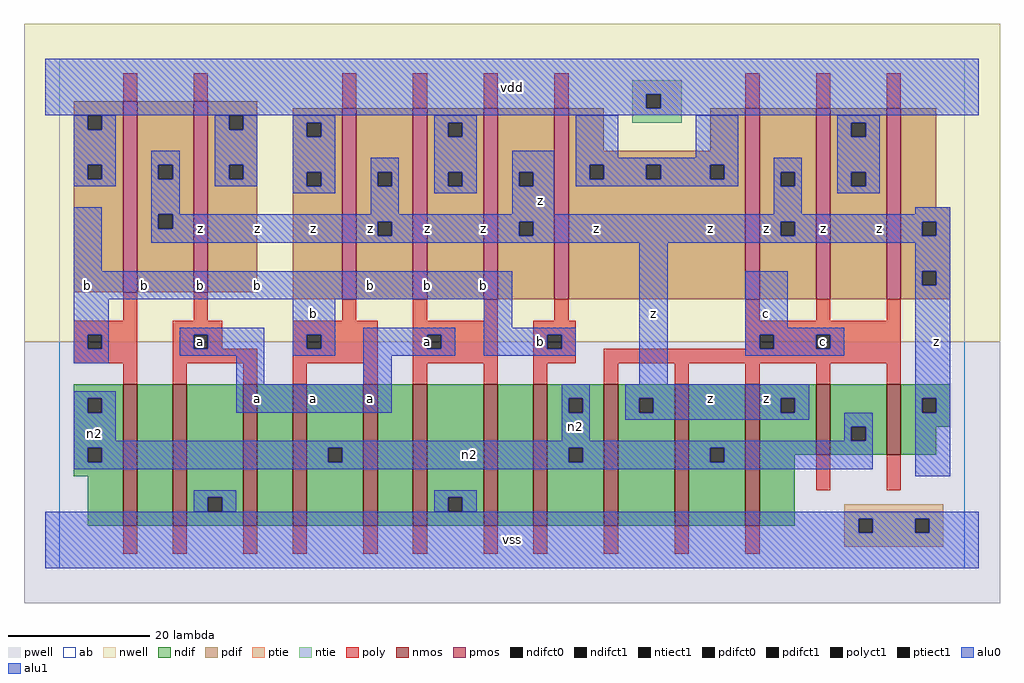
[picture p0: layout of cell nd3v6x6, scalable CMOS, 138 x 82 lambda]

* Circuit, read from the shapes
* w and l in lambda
.subckt nd3v6x6 a b c n2 vdd vss z
M1 n1 b n2 vss nfet w=20 l=2
M2 vss a n1 vss nfet w=20 l=2
M3 n3 a vss vss nfet w=20 l=2
M4 n2 b n3 vss nfet w=20 l=2
M5 n4 b n2 vss nfet w=20 l=2
M6 vss a n4 vss nfet w=20 l=2
M7 n5 a vss vss nfet w=20 l=2
M8 n2 b n5 vss nfet w=20 l=2
M9 z c n2 vss nfet w=20 l=2 m=3
M10 n2 c z vss nfet w=10 l=2 m=2
M11 z b vdd vdd pfet w=27 l=2 m=3
M12 vdd a z vdd pfet w=27 l=2 m=3
M13 z c vdd vdd pfet w=27 l=2 m=3
.ends

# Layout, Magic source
magic
tech scmos
<< ab >>
rect 0 0 128 72
<< nwell >>
rect -5 32 133 77
<< pwell >>
rect -5 -5 133 32
<< poly >>
rect 9 66 11 70
rect 19 66 21 70
rect 40 65 42 70
rect 50 65 52 70
rect 60 65 62 70
rect 70 65 72 70
rect 97 65 99 70
rect 107 65 109 70
rect 117 65 119 70
rect 9 35 11 39
rect 19 35 21 39
rect 40 35 42 38
rect 50 35 52 38
rect 60 35 62 38
rect 70 35 72 38
rect 97 35 99 38
rect 107 35 109 38
rect 117 35 119 38
rect 2 33 11 35
rect 2 31 4 33
rect 6 31 11 33
rect 2 29 11 31
rect 9 26 11 29
rect 16 33 23 35
rect 16 31 19 33
rect 21 31 23 33
rect 33 33 45 35
rect 33 31 35 33
rect 37 31 45 33
rect 16 29 28 31
rect 16 26 18 29
rect 26 26 28 29
rect 33 29 45 31
rect 33 26 35 29
rect 43 26 45 29
rect 50 33 62 35
rect 50 31 52 33
rect 54 31 62 33
rect 50 29 62 31
rect 50 26 52 29
rect 60 26 62 29
rect 67 33 73 35
rect 67 31 69 33
rect 71 31 73 33
rect 97 33 119 35
rect 97 31 99 33
rect 101 31 107 33
rect 109 31 119 33
rect 67 29 73 31
rect 77 29 119 31
rect 67 26 69 29
rect 77 26 79 29
rect 87 26 89 29
rect 97 26 99 29
rect 107 26 109 29
rect 117 26 119 29
rect 107 11 109 16
rect 117 11 119 16
rect 9 2 11 6
rect 16 2 18 6
rect 26 2 28 6
rect 33 2 35 6
rect 43 2 45 6
rect 50 2 52 6
rect 60 2 62 6
rect 67 2 69 6
rect 77 2 79 6
rect 87 2 89 6
rect 97 2 99 6
<< ndif >>
rect 2 24 9 26
rect 2 22 4 24
rect 6 22 9 24
rect 2 17 9 22
rect 2 15 4 17
rect 6 15 9 17
rect 2 13 9 15
rect 4 6 9 13
rect 11 6 16 26
rect 18 10 26 26
rect 18 8 21 10
rect 23 8 26 10
rect 18 6 26 8
rect 28 6 33 26
rect 35 17 43 26
rect 35 15 38 17
rect 40 15 43 17
rect 35 6 43 15
rect 45 6 50 26
rect 52 10 60 26
rect 52 8 55 10
rect 57 8 60 10
rect 52 6 60 8
rect 62 6 67 26
rect 69 24 77 26
rect 69 22 72 24
rect 74 22 77 24
rect 69 17 77 22
rect 69 15 72 17
rect 74 15 77 17
rect 69 6 77 15
rect 79 24 87 26
rect 79 22 82 24
rect 84 22 87 24
rect 79 6 87 22
rect 89 17 97 26
rect 89 15 92 17
rect 94 15 97 17
rect 89 6 97 15
rect 99 24 107 26
rect 99 22 102 24
rect 104 22 107 24
rect 99 16 107 22
rect 109 20 117 26
rect 109 18 112 20
rect 114 18 117 20
rect 109 16 117 18
rect 119 24 126 26
rect 119 22 122 24
rect 124 22 126 24
rect 119 20 126 22
rect 119 16 124 20
rect 99 6 104 16
<< pdif >>
rect 2 64 9 66
rect 2 62 4 64
rect 6 62 9 64
rect 2 57 9 62
rect 2 55 4 57
rect 6 55 9 57
rect 2 39 9 55
rect 11 57 19 66
rect 11 55 14 57
rect 16 55 19 57
rect 11 50 19 55
rect 11 48 14 50
rect 16 48 19 50
rect 11 39 19 48
rect 21 64 28 66
rect 21 62 24 64
rect 26 62 28 64
rect 21 57 28 62
rect 21 55 24 57
rect 26 55 28 57
rect 21 39 28 55
rect 33 63 40 65
rect 33 61 35 63
rect 37 61 40 63
rect 33 56 40 61
rect 33 54 35 56
rect 37 54 40 56
rect 33 38 40 54
rect 42 56 50 65
rect 42 54 45 56
rect 47 54 50 56
rect 42 49 50 54
rect 42 47 45 49
rect 47 47 50 49
rect 42 38 50 47
rect 52 63 60 65
rect 52 61 55 63
rect 57 61 60 63
rect 52 56 60 61
rect 52 54 55 56
rect 57 54 60 56
rect 52 38 60 54
rect 62 56 70 65
rect 62 54 65 56
rect 67 54 70 56
rect 62 49 70 54
rect 62 47 65 49
rect 67 47 70 49
rect 62 38 70 47
rect 72 59 77 65
rect 92 59 97 65
rect 72 57 97 59
rect 72 55 75 57
rect 77 55 83 57
rect 85 55 92 57
rect 94 55 97 57
rect 72 38 97 55
rect 99 56 107 65
rect 99 54 102 56
rect 104 54 107 56
rect 99 49 107 54
rect 99 47 102 49
rect 104 47 107 49
rect 99 38 107 47
rect 109 63 117 65
rect 109 61 112 63
rect 114 61 117 63
rect 109 56 117 61
rect 109 54 112 56
rect 114 54 117 56
rect 109 38 117 54
rect 119 51 124 65
rect 119 49 126 51
rect 119 47 122 49
rect 124 47 126 49
rect 119 42 126 47
rect 119 40 122 42
rect 124 40 126 42
rect 119 38 126 40
<< alu1 >>
rect -2 67 130 72
rect -2 65 83 67
rect 85 65 130 67
rect -2 64 130 65
rect 13 57 17 59
rect 13 55 14 57
rect 16 55 17 57
rect 2 42 6 51
rect 13 50 17 55
rect 44 56 48 58
rect 44 54 45 56
rect 47 54 48 56
rect 44 50 48 54
rect 64 56 70 59
rect 64 54 65 56
rect 67 54 70 56
rect 101 56 105 58
rect 101 54 102 56
rect 104 54 105 56
rect 64 50 70 54
rect 101 50 105 54
rect 121 50 126 51
rect 13 48 14 50
rect 16 49 126 50
rect 16 48 45 49
rect 13 47 45 48
rect 47 47 65 49
rect 67 47 102 49
rect 104 47 122 49
rect 124 47 126 49
rect 13 46 126 47
rect 2 38 64 42
rect 2 33 7 38
rect 2 31 4 33
rect 6 31 7 33
rect 2 29 7 31
rect 17 33 29 34
rect 17 31 19 33
rect 21 31 29 33
rect 17 30 29 31
rect 33 33 39 38
rect 60 34 64 38
rect 33 31 35 33
rect 37 31 39 33
rect 33 30 39 31
rect 43 33 56 34
rect 43 31 52 33
rect 54 31 56 33
rect 43 30 56 31
rect 60 33 73 34
rect 60 31 69 33
rect 71 31 73 33
rect 60 30 73 31
rect 25 26 29 30
rect 43 26 47 30
rect 82 26 86 46
rect 121 42 126 46
rect 97 34 103 42
rect 121 40 122 42
rect 124 40 126 42
rect 97 33 111 34
rect 97 31 99 33
rect 101 31 107 33
rect 109 31 111 33
rect 97 30 111 31
rect 25 22 47 26
rect 80 24 106 26
rect 80 22 82 24
rect 84 22 102 24
rect 104 22 106 24
rect 121 24 126 40
rect 121 22 122 24
rect 124 22 126 24
rect 80 21 106 22
rect 121 13 126 22
rect -2 7 130 8
rect -2 5 113 7
rect 115 5 121 7
rect 123 5 130 7
rect -2 0 130 5
<< ptie >>
rect 111 7 125 9
rect 111 5 113 7
rect 115 5 121 7
rect 123 5 125 7
rect 111 3 125 5
<< ntie >>
rect 81 67 88 69
rect 81 65 83 67
rect 85 65 88 67
rect 81 63 88 65
<< nmos >>
rect 9 6 11 26
rect 16 6 18 26
rect 26 6 28 26
rect 33 6 35 26
rect 43 6 45 26
rect 50 6 52 26
rect 60 6 62 26
rect 67 6 69 26
rect 77 6 79 26
rect 87 6 89 26
rect 97 6 99 26
rect 107 16 109 26
rect 117 16 119 26
<< pmos >>
rect 9 39 11 66
rect 19 39 21 66
rect 40 38 42 65
rect 50 38 52 65
rect 60 38 62 65
rect 70 38 72 65
rect 97 38 99 65
rect 107 38 109 65
rect 117 38 119 65
<< polyct1 >>
rect 4 31 6 33
rect 19 31 21 33
rect 35 31 37 33
rect 52 31 54 33
rect 69 31 71 33
rect 99 31 101 33
rect 107 31 109 33
<< ndifct0 >>
rect 4 22 6 24
rect 4 15 6 17
rect 21 8 23 10
rect 38 15 40 17
rect 55 8 57 10
rect 72 22 74 24
rect 72 15 74 17
rect 92 15 94 17
rect 112 18 114 20
<< ndifct1 >>
rect 82 22 84 24
rect 102 22 104 24
rect 122 22 124 24
<< ntiect1 >>
rect 83 65 85 67
<< ptiect1 >>
rect 113 5 115 7
rect 121 5 123 7
<< pdifct0 >>
rect 4 62 6 64
rect 4 55 6 57
rect 24 62 26 64
rect 24 55 26 57
rect 35 61 37 63
rect 35 54 37 56
rect 55 61 57 63
rect 55 54 57 56
rect 75 55 77 57
rect 83 55 85 57
rect 92 55 94 57
rect 112 61 114 63
rect 112 54 114 56
<< pdifct1 >>
rect 14 55 16 57
rect 14 48 16 50
rect 45 54 47 56
rect 45 47 47 49
rect 65 54 67 56
rect 65 47 67 49
rect 102 54 104 56
rect 102 47 104 49
rect 122 47 124 49
rect 122 40 124 42
<< alu0 >>
rect 2 62 4 64
rect 6 62 8 64
rect 2 57 8 62
rect 22 62 24 64
rect 26 62 28 64
rect 2 55 4 57
rect 6 55 8 57
rect 2 54 8 55
rect 22 57 28 62
rect 22 55 24 57
rect 26 55 28 57
rect 22 54 28 55
rect 33 63 39 64
rect 33 61 35 63
rect 37 61 39 63
rect 33 56 39 61
rect 53 63 59 64
rect 53 61 55 63
rect 57 61 59 63
rect 33 54 35 56
rect 37 54 39 56
rect 33 53 39 54
rect 53 56 59 61
rect 53 54 55 56
rect 57 54 59 56
rect 53 53 59 54
rect 73 58 79 64
rect 90 58 96 64
rect 110 63 116 64
rect 110 61 112 63
rect 114 61 116 63
rect 73 57 96 58
rect 73 55 75 57
rect 77 55 83 57
rect 85 55 92 57
rect 94 55 96 57
rect 73 54 96 55
rect 110 56 116 61
rect 110 54 112 56
rect 114 54 116 56
rect 110 53 116 54
rect 2 24 8 25
rect 2 22 4 24
rect 6 22 8 24
rect 71 24 75 26
rect 71 22 72 24
rect 74 22 75 24
rect 2 18 8 22
rect 71 18 75 22
rect 111 20 115 22
rect 111 18 112 20
rect 114 18 115 20
rect 2 17 115 18
rect 2 15 4 17
rect 6 15 38 17
rect 40 15 72 17
rect 74 15 92 17
rect 94 15 115 17
rect 2 14 115 15
rect 19 10 25 11
rect 19 8 21 10
rect 23 8 25 10
rect 53 10 59 11
rect 53 8 55 10
rect 57 8 59 10
<< labels >>
rlabel alu0 5 19 5 19 6 n2
rlabel alu0 73 20 73 20 6 n2
rlabel alu0 58 16 58 16 6 n2
rlabel polyct1 20 32 20 32 6 a
rlabel alu1 4 40 4 40 6 b
rlabel alu1 12 40 12 40 6 b
rlabel alu1 20 40 20 40 6 b
rlabel alu1 20 48 20 48 6 z
rlabel alu1 44 24 44 24 6 a
rlabel alu1 36 24 36 24 6 a
rlabel alu1 28 24 28 24 6 a
rlabel alu1 28 40 28 40 6 b
rlabel alu1 44 40 44 40 6 b
rlabel alu1 36 36 36 36 6 b
rlabel alu1 36 48 36 48 6 z
rlabel alu1 44 48 44 48 6 z
rlabel alu1 28 48 28 48 6 z
rlabel alu1 64 4 64 4 6 vss
rlabel alu1 68 32 68 32 6 b
rlabel alu1 52 32 52 32 6 a
rlabel alu1 52 40 52 40 6 b
rlabel alu1 60 40 60 40 6 b
rlabel alu1 52 48 52 48 6 z
rlabel alu1 68 52 68 52 6 z
rlabel alu1 60 48 60 48 6 z
rlabel alu1 64 68 64 68 6 vdd
rlabel alu1 100 24 100 24 6 z
rlabel alu1 92 24 92 24 6 z
rlabel alu1 84 36 84 36 6 z
rlabel alu1 100 36 100 36 6 c
rlabel alu1 76 48 76 48 6 z
rlabel alu1 100 48 100 48 6 z
rlabel alu1 92 48 92 48 6 z
rlabel polyct1 108 32 108 32 6 c
rlabel alu1 124 32 124 32 6 z
rlabel alu1 108 48 108 48 6 z
rlabel alu1 116 48 116 48 6 z
<< end >>
